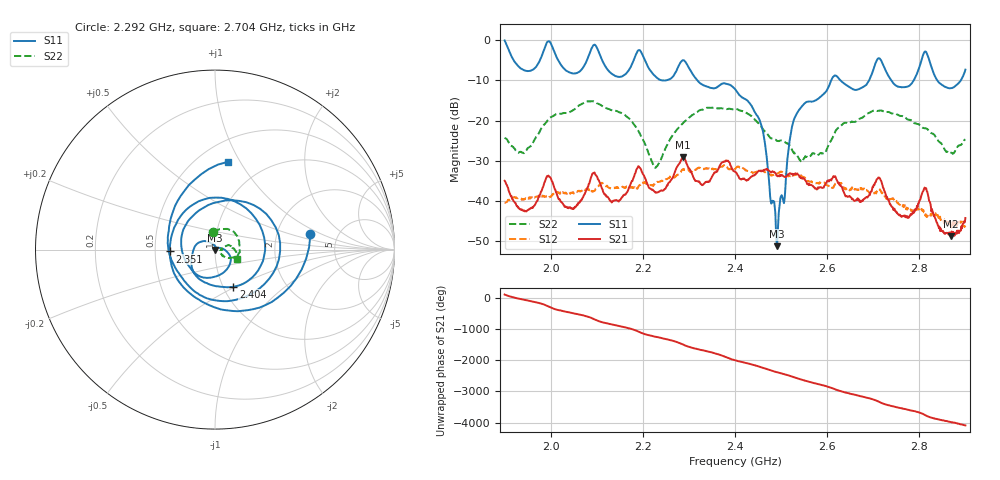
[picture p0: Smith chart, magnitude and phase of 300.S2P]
! C:\Users\rflab\Downloads\Lab5_KD_ZW\300.S2P
! Touchstone 1.1 file saved by VNA.EXE V1.65 (www.ke5fx.com/gpib/readme.htm)
! 11/12/2024 12:30:59 AM
!  Source: HEWLETT PACKARD,8753D,0,6.14
!  Min freq: 1.900000E+009 Hz
!  Max freq: 2.900000E+009 Hz
!  Points: 801
!  Params: S11 S21 S12 S22
# GHZ S RI R 50
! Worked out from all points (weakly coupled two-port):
!   801 points, 1.9 GHz to 2.9 GHz, reference 50 ohm
!   highest |S21| = -29.13 dB at 2.288 GHz (marker M1); lowest = -48.8 dB at 2.869 GHz (marker M2)
!   lowest |S11| = -51.4 dB at 2.491 GHz (marker M3), VSWR 1.01, Z = 49.8 - j0.217 ohm
!   |S11| at or under -10 dB: 2.318 GHz to 2.609 GHz (290.4 MHz wide, 11.8 % of centre); 2.629 GHz to 2.691 GHz (61.94 MHz wide, 2.33 % of centre); 2.839 GHz to 2.89 GHz (50.91 MHz wide, 1.78 % of centre) (the widest 3 of 5)
!   |S22| runs from -31.8 to -15.2 dB; largest |S21 - S12| = 0.012
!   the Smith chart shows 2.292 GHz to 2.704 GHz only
!   S11 on the Smith chart (normalised r, x): 2.292 GHz: 3.14, +0.74; 2.351 GHz: 0.60, -0.01; 2.404 GHz: 1.11, -0.49; 2.704 GHz: 0.69, +0.89
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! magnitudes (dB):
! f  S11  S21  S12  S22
! 1.9 GHz  0.0  -35.0  -40.5  -24.3
! 1.942 GHz  -7.5  -42.4  -39.7  -28.1
! 1.995 GHz  -0.2  -33.7  -39.3  -19.8
! 2.067 GHz  -7.2  -39.8  -37.5  -15.9
! 2.149 GHz  -9.1  -39.9  -36.8  -17.9
! 2.191 GHz  -2.4  -31.5  -36.3  -22.8
! 2.234 GHz  -9.6  -37.8  -35.3  -30.8
! 2.288 GHz  -5.0  -29.1  -32.1  -20.6
! 2.292 GHz  -5.4  -30.0  -32.2  -20.1
! 2.351 GHz  -12.0  -33.8  -32.0  -16.8
! 2.4 GHz  -12.2  -32.7  -32.1  -17.2
! 2.404 GHz  -12.7  -33.1  -31.6  -17.2
! 2.456 GHz  -20.8  -32.7  -32.5  -21.5
! 2.491 GHz  -51.4  -33.8  -33.3  -25.1
! 2.527 GHz  -19.9  -33.4  -33.7  -28.1
! 2.567 GHz  -15.3  -36.2  -35.4  -28.2
! 2.704 GHz  -6.1  -35.5  -38.0  -17.5
! 2.734 GHz  -9.0  -39.9  -39.9  -17.9
! 2.777 GHz  -11.4  -44.1  -42.4  -19.8
! 2.812 GHz  -2.8  -36.9  -43.7  -21.9
! 2.869 GHz  -11.9  -48.8  -46.0  -28.0
! 2.9 GHz  -7.3  -44.3  -46.7  -24.7
